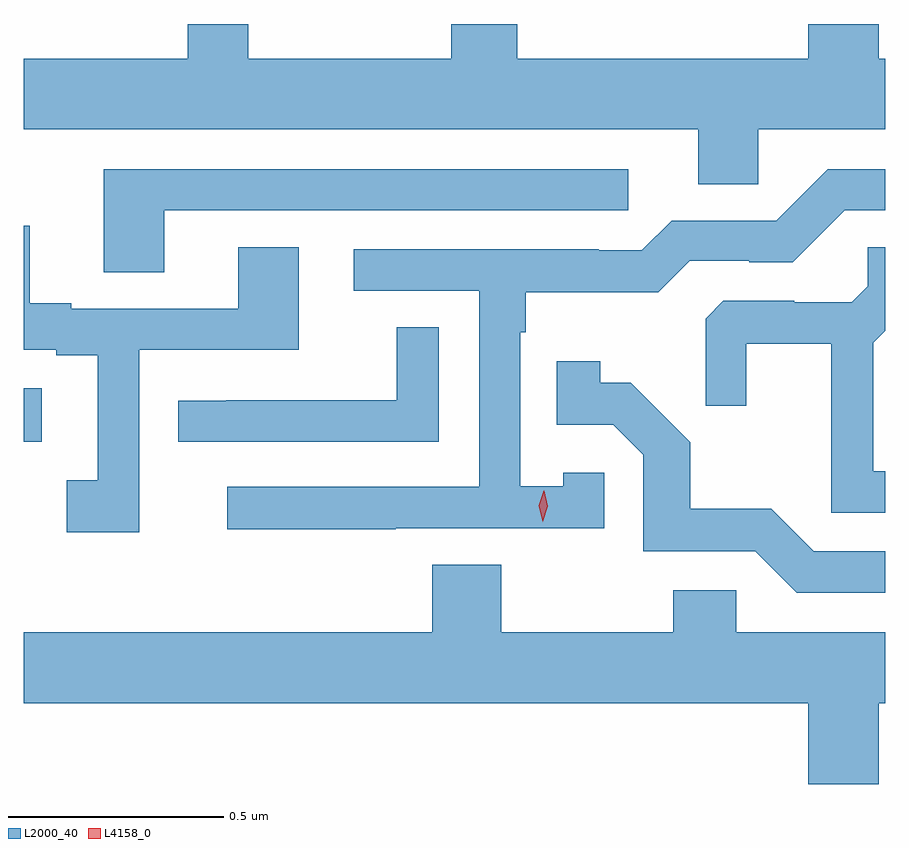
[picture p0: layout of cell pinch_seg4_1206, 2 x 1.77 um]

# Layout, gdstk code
import gdstk
lib = gdstk.Library(unit=1e-6, precision=1e-09)
def R(c, l, rs):  # rectangles x0, y0, x1, y1
    for r in rs: c.add(gdstk.rectangle(r[:2], r[2:], *l))
def P(c, l, *ps):  # polygons
    for p in ps: c.add(gdstk.Polygon(p, *l))
L2000_40 = (2000, 40)
L4158_0 = (4158, 0)

pinch_seg4_1206 = lib.new_cell('pinch_seg4_1206')
R(pinch_seg4_1206, L2000_40, [(426.923,764.127,426.964,764.251)])
P(pinch_seg4_1206, L2000_40, [(428.628,764.852),(428.923,764.852),(428.923,765.016),(428.908,765.016),(428.908,765.097),(428.744,765.097),(428.744,765.016),(428.069,765.016),(428.069,765.097),(427.916,765.097),(427.916,765.016),(427.444,765.016),(427.444,765.097),(427.304,765.097),(427.304,765.016),(426.923,765.016),(426.923,764.852),(428.489,764.852),(428.489,764.725),(428.628,764.725)],
  [(427.249,764.664),(428.326,764.664),(428.326,764.76),(427.109,764.76),(427.109,764.521),(427.249,764.521)],
  [(427.787,763.926),(428.271,763.926),(428.271,764.055),(428.175,764.055),(428.175,764.023),(428.076,764.023),(428.076,764.381),(428.089,764.381),(428.089,764.474),(428.396,764.474),(428.469,764.547),(428.608,764.547),(428.608,764.544),(428.709,764.544),(428.829,764.664),(428.923,764.664),(428.923,764.76),(428.79,764.76),(428.67,764.64),(428.427,764.64),(428.358,764.571),(428.258,764.571),(428.258,764.574),(427.689,764.574),(427.689,764.478),(427.98,764.478),(427.98,764.022),(427.395,764.022),(427.395,763.924),(427.787,763.924)],
  [(427.191,764.34),(427.561,764.34),(427.561,764.579),(427.421,764.579),(427.421,764.436),(427.033,764.436),(427.033,764.449),(426.937,764.449),(426.937,764.629),(426.923,764.629),(426.923,764.34),(426.998,764.34),(426.998,764.328),(427.094,764.328),(427.094,764.037),(427.023,764.037),(427.023,763.917),(427.191,763.917)],
  [(428.923,764.058),(428.895,764.058),(428.895,764.357),(428.923,764.385),(428.923,764.579),(428.883,764.579),(428.883,764.488),(428.846,764.451),(428.712,764.451),(428.712,764.454),(428.547,764.454),(428.506,764.413),(428.506,764.211),(428.6,764.211),(428.6,764.354),(428.798,764.354),(428.798,763.962),(428.923,763.962)],
  [(427.887,764.393),(427.789,764.393),(427.789,764.223),(427.393,764.223),(427.393,764.222),(427.281,764.222),(427.281,764.127),(427.887,764.127)],
  [(428.923,763.872),(428.757,763.872),(428.659,763.971),(428.47,763.971),(428.47,764.126),(428.332,764.264),(428.262,764.264),(428.262,764.314),(428.161,764.314),(428.161,764.166),(428.292,764.166),(428.361,764.097),(428.361,763.872),(428.622,763.872),(428.718,763.776),(428.923,763.776)],
  [(428.908,763.52),(428.923,763.52),(428.923,763.684),(428.577,763.684),(428.577,763.782),(428.431,763.782),(428.431,763.684),(428.031,763.684),(428.031,763.841),(427.871,763.841),(427.871,763.684),(426.923,763.684),(426.923,763.52),(428.744,763.52),(428.744,763.332),(428.908,763.332)])
P(pinch_seg4_1206, L4158_0, [(428.128,763.941),(428.128,763.941),(428.119,763.978),(428.13,764.013),(428.131,764.013),(428.131,764.013),(428.139,763.977),(428.128,763.941)])

lib.write_gds('pinch_seg4_1206.gds')
